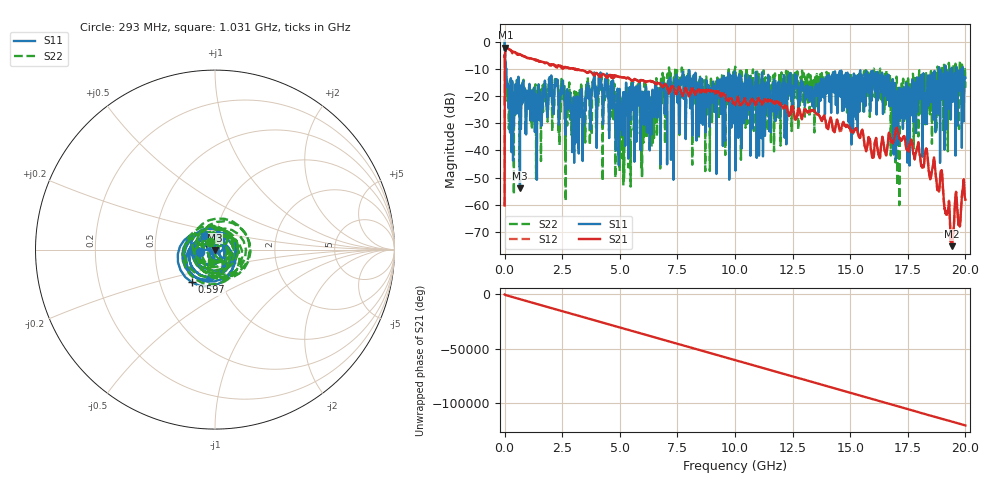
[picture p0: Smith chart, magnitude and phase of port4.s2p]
! MS46122B
! 2250307/22442219
! 2/19/2026 8:55:33 AM
! C:\USERS\SPARKY\DOCUMENTS\VNA_DATA\FEB19_2026\WARM2\PORT4.S2P
! CHANNEL.1
! TR.MEASUREMENT
! RAW.DATA
# GHZ S RI R 50.0
! FREQ.GHZ  S11RE  S11IM  S21RE  S21IM  S12RE  S12IM  S22RE  S22IM
!; PortSelection: Port_12
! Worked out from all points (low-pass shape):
!   10001 points, 1 MHz to 20 GHz, reference 50 ohm
!   highest |S21| = -2.26 dB at 33 MHz (marker M1); lowest = -75.2 dB at 19.4 GHz (marker M2)
!   |S21| within 3 dB of the highest: 19.2 MHz to 780 MHz (760.8 MHz wide, 190 % of centre); 805.6 MHz to 821.4 MHz (15.77 MHz wide, 1.94 % of centre) (the widest 2 of 3)
!   lowest |S11| = -53.9 dB at 667 MHz (marker M3), VSWR 1.00, Z = 49.9 - j0.193 ohm
!   |S11| at or under -10 dB: 73.23 MHz to 18.85 GHz (18.78 GHz wide, 198 % of centre); 19.15 GHz to 19.4 GHz (253.3 MHz wide, 1.31 % of centre); 19.62 GHz to 19.88 GHz (252.9 MHz wide, 1.28 % of centre) (the widest 3 of 7)
!   |S22| runs from -60.1 to -0.2 dB; largest |S21 - S12| = 0.064
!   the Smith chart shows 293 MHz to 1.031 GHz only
!   S11 on the Smith chart (normalised r, x): 293 MHz: 0.85, -0.02; 597 MHz: 0.73, -0.28; 1.031 GHz: 0.88, +0.13
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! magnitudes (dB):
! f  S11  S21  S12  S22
! 1 MHz  0.4  -60.3  -60.3  -0.2
! 33 MHz  -8.4  -2.3  -2.6  -11.6
! 107 MHz  -14.7  -2.5  -2.6  -14.8
! 293 MHz  -21.5  -3.4  -3.4  -26.4
! 597 MHz  -13.0  -4.9  -4.9  -14.7
! 667 MHz  -53.9  -4.7  -4.7  -25.7
! 1.031 GHz  -20.3  -6.1  -6.1  -22.7
! 2.243 GHz  -15.0  -9.0  -9.0  -14.6
! 3.335 GHz  -19.7  -10.6  -10.7  -16.9
! 4.137 GHz  -15.3  -12.5  -12.6  -16.3
! 5.095 GHz  -25.1  -13.2  -13.2  -27.9
! 6.669 GHz  -19.3  -15.3  -15.3  -23.9
! 7.423 GHz  -16.5  -19.2  -19.3  -9.9
! 8.909 GHz  -28.9  -17.9  -18.0  -47.6
! 10 GHz  -12.1  -23.2  -23.3  -9.9
! 13.33 GHz  -16.8  -25.6  -25.4  -14.3
! 15.96 GHz  -11.6  -42.7  -42.8  -11.8
! 16.67 GHz  -13.4  -34.1  -34.2  -13.5
! 18.31 GHz  -19.8  -39.5  -39.8  -13.1
! 18.97 GHz  -15.7  -47.3  -47.3  -13.9
! 19.4 GHz  -9.9  -75.2  -74.3  -15.6
! 20 GHz  -13.5  -58.1  -58.6  -17.0
